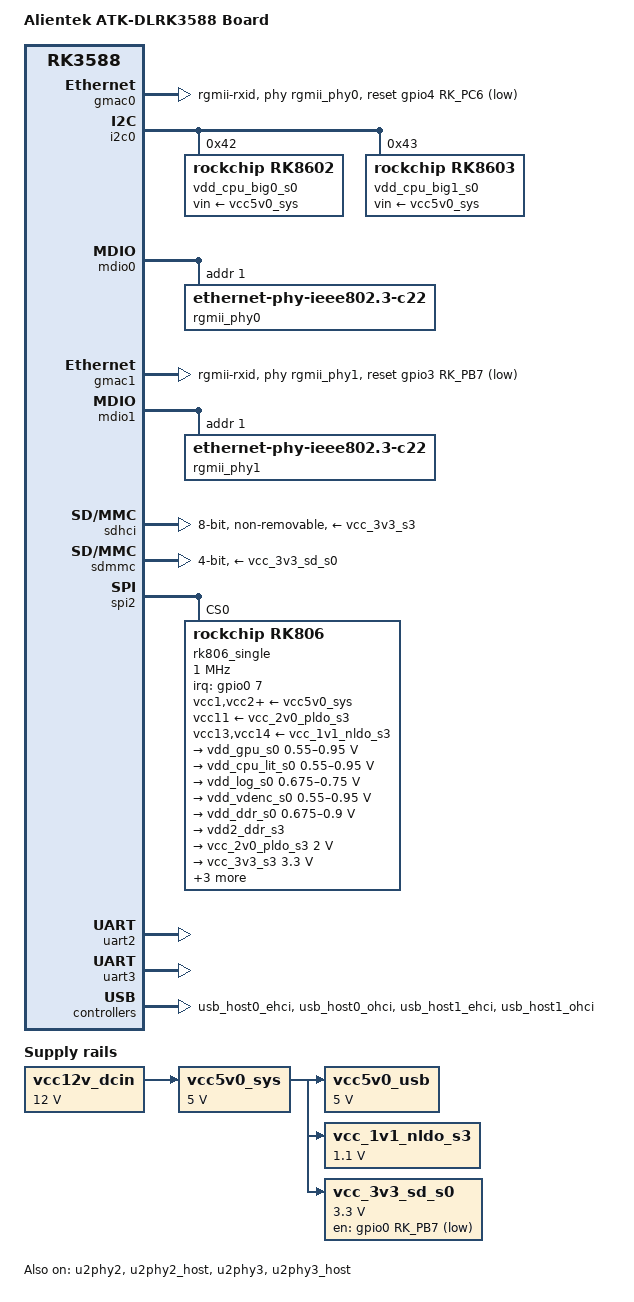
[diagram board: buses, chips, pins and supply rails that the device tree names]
// SPDX-License-Identifier: (GPL-2.0+ OR MIT)
/*
 * Copyright (c) 2025 Alientek Electronics Co., Ltd
 *
 * Basic Linux support for the Alientek ATK-DLRK3588 development board.
 * Board wiring comes from the vendor rk3588-atk-devkit.dts(i) and the
 * tested U-Boot board description, including active-low SD card power.
 */

/dts-v1/;

#include <dt-bindings/clock/rockchip,rk3588-cru.h>
#include <dt-bindings/gpio/gpio.h>
#include <dt-bindings/pinctrl/rockchip.h>
#include "rk3588.dtsi"

/ {
	model = "Alientek ATK-DLRK3588 Board";
	compatible = "alientek,atk-dlrk3588", "rockchip,rk3588";

	aliases {
		ethernet0 = &gmac0;
		ethernet1 = &gmac1;
		mmc0 = &sdhci;
		mmc1 = &sdmmc;
		spi2 = &spi2;
	};

	chosen {
		stdout-path = "serial2:1500000n8";
	};

	vcc12v_dcin: vcc12v-dcin {
		compatible = "regulator-fixed";
		regulator-name = "vcc12v_dcin";
		regulator-always-on;
		regulator-boot-on;
		regulator-min-microvolt = <12000000>;
		regulator-max-microvolt = <12000000>;
	};

	vcc5v0_sys: vcc5v0-sys {
		compatible = "regulator-fixed";
		regulator-name = "vcc5v0_sys";
		regulator-always-on;
		regulator-boot-on;
		regulator-min-microvolt = <5000000>;
		regulator-max-microvolt = <5000000>;
		vin-supply = <&vcc12v_dcin>;
	};

	vcc5v0_usb: vcc5v0-usb {
		compatible = "regulator-fixed";
		regulator-name = "vcc5v0_usb";
		regulator-always-on;
		regulator-boot-on;
		regulator-min-microvolt = <5000000>;
		regulator-max-microvolt = <5000000>;
		vin-supply = <&vcc5v0_sys>;
	};

	vcc_1v1_nldo_s3: vcc-1v1-nldo-s3 {
		compatible = "regulator-fixed";
		regulator-name = "vcc_1v1_nldo_s3";
		regulator-always-on;
		regulator-boot-on;
		regulator-min-microvolt = <1100000>;
		regulator-max-microvolt = <1100000>;
		vin-supply = <&vcc5v0_sys>;
	};

	vcc_3v3_sd_s0: vcc-3v3-sd-s0-regulator {
		compatible = "regulator-fixed";
		gpio = <&gpio0 RK_PB7 GPIO_ACTIVE_LOW>;
		pinctrl-names = "default";
		pinctrl-0 = <&sd_s0_pwr>;
		regulator-name = "vcc_3v3_sd_s0";
		regulator-min-microvolt = <3300000>;
		regulator-max-microvolt = <3300000>;
		regulator-boot-on;
		vin-supply = <&vcc5v0_sys>;
	};
};

&cpu_b0 {
	cpu-supply = <&vdd_cpu_big0_s0>;
};

&cpu_b1 {
	cpu-supply = <&vdd_cpu_big0_s0>;
};

&cpu_b2 {
	cpu-supply = <&vdd_cpu_big1_s0>;
};

&cpu_b3 {
	cpu-supply = <&vdd_cpu_big1_s0>;
};

&cpu_l0 {
	cpu-supply = <&vdd_cpu_lit_s0>;
};

&cpu_l1 {
	cpu-supply = <&vdd_cpu_lit_s0>;
};

&cpu_l2 {
	cpu-supply = <&vdd_cpu_lit_s0>;
};

&cpu_l3 {
	cpu-supply = <&vdd_cpu_lit_s0>;
};

&gmac0 {
	clock_in_out = "output";
	/* GMAC supplies the TX delay; the PHY supplies the RX delay. */
	phy-mode = "rgmii-rxid";
	phy-handle = <&rgmii_phy0>;

	snps,reset-gpio = <&gpio4 RK_PC6 GPIO_ACTIVE_LOW>;
	snps,reset-active-low;
	/* Assert reset for 20ms, then allow 100ms for the PHY to settle. */
	snps,reset-delays-us = <0 20000 100000>;

	pinctrl-names = "default";
	pinctrl-0 = <&gmac0_miim
		     &gmac0_tx_bus2
		     &gmac0_rx_bus2
		     &gmac0_rgmii_clk
		     &gmac0_rgmii_bus>;

	tx_delay = <0x43>;
	status = "okay";
};

&i2c0 {
	pinctrl-names = "default";
	pinctrl-0 = <&i2c0m2_xfer>;
	status = "okay";

	vdd_cpu_big0_s0: regulator@42 {
		compatible = "rockchip,rk8602";
		reg = <0x42>;
		vin-supply = <&vcc5v0_sys>;
		regulator-name = "vdd_cpu_big0_s0";
		regulator-min-microvolt = <550000>;
		regulator-max-microvolt = <1050000>;
		regulator-ramp-delay = <2300>;
		fcs,suspend-voltage-selector = <1>;
		regulator-boot-on;
		regulator-always-on;
	};

	vdd_cpu_big1_s0: regulator@43 {
		compatible = "rockchip,rk8603", "rockchip,rk8602";
		reg = <0x43>;
		vin-supply = <&vcc5v0_sys>;
		regulator-name = "vdd_cpu_big1_s0";
		regulator-min-microvolt = <550000>;
		regulator-max-microvolt = <1050000>;
		regulator-ramp-delay = <2300>;
		fcs,suspend-voltage-selector = <1>;
		regulator-boot-on;
		regulator-always-on;
	};
};

&mdio0 {
	rgmii_phy0: ethernet-phy@1 {
		compatible = "ethernet-phy-ieee802.3-c22";
		reg = <0x1>;
	};
};

&gmac1 {
	clock_in_out = "output";
	/* GMAC supplies the TX delay; the PHY supplies the RX delay. */
	phy-mode = "rgmii-rxid";
	phy-handle = <&rgmii_phy1>;

	snps,reset-gpio = <&gpio3 RK_PB7 GPIO_ACTIVE_LOW>;
	snps,reset-active-low;
	/* Assert reset for 20ms, then allow 100ms for the PHY to settle. */
	snps,reset-delays-us = <0 20000 100000>;

	pinctrl-names = "default";
	pinctrl-0 = <&gmac1_miim
		     &gmac1_tx_bus2
		     &gmac1_rx_bus2
		     &gmac1_rgmii_clk
		     &gmac1_rgmii_bus>;

	tx_delay = <0x43>;
	status = "okay";
};

&mdio1 {
	rgmii_phy1: ethernet-phy@1 {
		compatible = "ethernet-phy-ieee802.3-c22";
		reg = <0x1>;
	};
};

&pinctrl {
	sdmmc {
		sd_s0_pwr: sd-s0-pwr {
			rockchip,pins = <0 RK_PB7 RK_FUNC_GPIO &pcfg_pull_down>;
		};
	};
};

&sdhci {
	bus-width = <8>;
	no-sdio;
	no-sd;
	non-removable;
	max-frequency = <200000000>;
	mmc-hs400-1_8v;
	mmc-hs400-enhanced-strobe;
	vmmc-supply = <&vcc_3v3_s3>;
	vqmmc-supply = <&vcc_1v8_s3>;
	status = "okay";
};

&sdmmc {
	max-frequency = <150000000>;
	no-sdio;
	no-mmc;
	bus-width = <4>;
	cap-sd-highspeed;
	disable-wp;
	vmmc-supply = <&vcc_3v3_sd_s0>;
	vqmmc-supply = <&vccio_sd_s0>;
	status = "okay";
};

&spi2 {
	assigned-clocks = <&cru CLK_SPI2>;
	assigned-clock-rates = <200000000>;
	num-cs = <1>;
	pinctrl-names = "default";
	pinctrl-0 = <&spi2m2_cs0 &spi2m2_pins>;
	status = "okay";

	rk806_single: pmic@0 {
		compatible = "rockchip,rk806";
		reg = <0x0>;
		interrupt-parent = <&gpio0>;
		interrupts = <7 IRQ_TYPE_LEVEL_LOW>;
		pinctrl-names = "default";
		pinctrl-0 = <&pmic_pins>, <&rk806_dvs1_null>,
			    <&rk806_dvs2_null>, <&rk806_dvs3_null>;
		spi-max-frequency = <1000000>;
		system-power-controller;

		vcc1-supply = <&vcc5v0_sys>;
		vcc2-supply = <&vcc5v0_sys>;
		vcc3-supply = <&vcc5v0_sys>;
		vcc4-supply = <&vcc5v0_sys>;
		vcc5-supply = <&vcc5v0_sys>;
		vcc6-supply = <&vcc5v0_sys>;
		vcc7-supply = <&vcc5v0_sys>;
		vcc8-supply = <&vcc5v0_sys>;
		vcc9-supply = <&vcc5v0_sys>;
		vcc10-supply = <&vcc5v0_sys>;
		vcc11-supply = <&vcc_2v0_pldo_s3>;
		vcc12-supply = <&vcc5v0_sys>;
		vcc13-supply = <&vcc_1v1_nldo_s3>;
		vcc14-supply = <&vcc_1v1_nldo_s3>;
		vcca-supply = <&vcc5v0_sys>;

		gpio-controller;
		#gpio-cells = <2>;

		rk806_dvs1_null: dvs1-null-pins {
			pins = "gpio_pwrctrl1";
			function = "pin_fun0";
		};

		rk806_dvs2_null: dvs2-null-pins {
			pins = "gpio_pwrctrl2";
			function = "pin_fun0";
		};

		rk806_dvs3_null: dvs3-null-pins {
			pins = "gpio_pwrctrl3";
			function = "pin_fun0";
		};

		regulators {
			vdd_gpu_s0: dcdc-reg1 {
				regulator-name = "vdd_gpu_s0";
				regulator-boot-on;
				regulator-min-microvolt = <550000>;
				regulator-max-microvolt = <950000>;
				regulator-ramp-delay = <12500>;
				regulator-enable-ramp-delay = <400>;

				regulator-state-mem {
					regulator-off-in-suspend;
				};
			};

			vdd_cpu_lit_s0: dcdc-reg2 {
				regulator-name = "vdd_cpu_lit_s0";
				regulator-always-on;
				regulator-boot-on;
				regulator-min-microvolt = <550000>;
				regulator-max-microvolt = <950000>;
				regulator-ramp-delay = <12500>;

				regulator-state-mem {
					regulator-off-in-suspend;
				};
			};

			vdd_log_s0: dcdc-reg3 {
				regulator-name = "vdd_log_s0";
				regulator-always-on;
				regulator-boot-on;
				regulator-min-microvolt = <675000>;
				regulator-max-microvolt = <750000>;
				regulator-ramp-delay = <12500>;

				regulator-state-mem {
					regulator-off-in-suspend;
					regulator-suspend-microvolt = <750000>;
				};
			};

			vdd_vdenc_s0: dcdc-reg4 {
				regulator-name = "vdd_vdenc_s0";
				regulator-always-on;
				regulator-boot-on;
				regulator-min-microvolt = <550000>;
				regulator-max-microvolt = <950000>;
				regulator-ramp-delay = <12500>;

				regulator-state-mem {
					regulator-off-in-suspend;
				};
			};

			vdd_ddr_s0: dcdc-reg5 {
				regulator-name = "vdd_ddr_s0";
				regulator-always-on;
				regulator-boot-on;
				regulator-min-microvolt = <675000>;
				regulator-max-microvolt = <900000>;
				regulator-ramp-delay = <12500>;

				regulator-state-mem {
					regulator-off-in-suspend;
					regulator-suspend-microvolt = <850000>;
				};
			};

			vdd2_ddr_s3: dcdc-reg6 {
				regulator-name = "vdd2_ddr_s3";
				regulator-always-on;
				regulator-boot-on;

				regulator-state-mem {
					regulator-on-in-suspend;
				};
			};

			vcc_2v0_pldo_s3: dcdc-reg7 {
				regulator-name = "vdd_2v0_pldo_s3";
				regulator-always-on;
				regulator-boot-on;
				regulator-min-microvolt = <2000000>;
				regulator-max-microvolt = <2000000>;
				regulator-ramp-delay = <12500>;

				regulator-state-mem {
					regulator-on-in-suspend;
					regulator-suspend-microvolt = <2000000>;
				};
			};

			vcc_3v3_s3: dcdc-reg8 {
				regulator-name = "vcc_3v3_s3";
				regulator-always-on;
				regulator-boot-on;
				regulator-min-microvolt = <3300000>;
				regulator-max-microvolt = <3300000>;

				regulator-state-mem {
					regulator-on-in-suspend;
					regulator-suspend-microvolt = <3300000>;
				};
			};

			vddq_ddr_s0: dcdc-reg9 {
				regulator-name = "vddq_ddr_s0";
				regulator-always-on;
				regulator-boot-on;

				regulator-state-mem {
					regulator-off-in-suspend;
				};
			};

			vcc_1v8_s3: dcdc-reg10 {
				regulator-name = "vcc_1v8_s3";
				regulator-always-on;
				regulator-boot-on;
				regulator-min-microvolt = <1800000>;
				regulator-max-microvolt = <1800000>;

				regulator-state-mem {
					regulator-on-in-suspend;
					regulator-suspend-microvolt = <1800000>;
				};
			};

			avcc_1v8_s0: pldo-reg1 {
				regulator-name = "avcc_1v8_s0";
				regulator-always-on;
				regulator-boot-on;
				regulator-min-microvolt = <1800000>;
				regulator-max-microvolt = <1800000>;

				regulator-state-mem {
					regulator-off-in-suspend;
				};
			};

			vcc_1v8_s0: pldo-reg2 {
				regulator-name = "vcc_1v8_s0";
				regulator-always-on;
				regulator-boot-on;
				regulator-min-microvolt = <1800000>;
				regulator-max-microvolt = <1800000>;

				regulator-state-mem {
					regulator-off-in-suspend;
					regulator-suspend-microvolt = <1800000>;
				};
			};

			avdd_1v2_s0: pldo-reg3 {
				regulator-name = "avdd_1v2_s0";
				regulator-always-on;
				regulator-boot-on;
				regulator-min-microvolt = <1200000>;
				regulator-max-microvolt = <1200000>;

				regulator-state-mem {
					regulator-off-in-suspend;
				};
			};

			vcc_3v3_s0: pldo-reg4 {
				regulator-name = "vcc_3v3_s0";
				regulator-always-on;
				regulator-boot-on;
				regulator-min-microvolt = <3300000>;
				regulator-max-microvolt = <3300000>;
				regulator-ramp-delay = <12500>;

				regulator-state-mem {
					regulator-off-in-suspend;
				};
			};

			vccio_sd_s0: pldo-reg5 {
				regulator-name = "vccio_sd_s0";
				regulator-always-on;
				regulator-boot-on;
				regulator-min-microvolt = <1800000>;
				regulator-max-microvolt = <3300000>;
				regulator-ramp-delay = <12500>;

				regulator-state-mem {
					regulator-off-in-suspend;
				};
			};

			pldo6_s3: pldo-reg6 {
				regulator-name = "pldo6_s3";
				regulator-always-on;
				regulator-boot-on;
				regulator-min-microvolt = <1800000>;
				regulator-max-microvolt = <1800000>;

				regulator-state-mem {
					regulator-on-in-suspend;
					regulator-suspend-microvolt = <1800000>;
				};
			};

			vdd_0v75_s3: nldo-reg1 {
				regulator-name = "vdd_0v75_s3";
				regulator-always-on;
				regulator-boot-on;
				regulator-min-microvolt = <750000>;
				regulator-max-microvolt = <750000>;

				regulator-state-mem {
					regulator-on-in-suspend;
					regulator-suspend-microvolt = <750000>;
				};
			};

			vdd_ddr_pll_s0: nldo-reg2 {
				regulator-name = "vdd_ddr_pll_s0";
				regulator-always-on;
				regulator-boot-on;
				regulator-min-microvolt = <850000>;
				regulator-max-microvolt = <850000>;

				regulator-state-mem {
					regulator-off-in-suspend;
					regulator-suspend-microvolt = <850000>;
				};
			};

			avdd_0v75_s0: nldo-reg3 {
				regulator-name = "avdd_0v75_s0";
				regulator-always-on;
				regulator-boot-on;
				regulator-min-microvolt = <837500>;
				regulator-max-microvolt = <837500>;

				regulator-state-mem {
					regulator-off-in-suspend;
				};
			};

			vdd_0v85_s0: nldo-reg4 {
				regulator-name = "vdd_0v85_s0";
				regulator-always-on;
				regulator-boot-on;
				regulator-min-microvolt = <850000>;
				regulator-max-microvolt = <850000>;

				regulator-state-mem {
					regulator-off-in-suspend;
				};
			};

			vdd_0v75_s0: nldo-reg5 {
				regulator-name = "vdd_0v75_s0";
				regulator-always-on;
				regulator-boot-on;
				regulator-min-microvolt = <750000>;
				regulator-max-microvolt = <750000>;

				regulator-state-mem {
					regulator-off-in-suspend;
				};
			};
		};
	};
};

&uart2 {
	pinctrl-0 = <&uart2m0_xfer>;
	status = "okay";
};

&uart3 {
	pinctrl-names = "default";
	pinctrl-0 = <&uart3m2_xfer>;
	status = "okay";
};

&u2phy2 {
	status = "okay";
};

&u2phy2_host {
	phy-supply = <&vcc5v0_usb>;
	status = "okay";
};

&u2phy3 {
	status = "okay";
};

&u2phy3_host {
	phy-supply = <&vcc5v0_usb>;
	status = "okay";
};

&usb_host0_ehci {
	status = "okay";
};

&usb_host0_ohci {
	status = "okay";
};

&usb_host1_ehci {
	status = "okay";
};

&usb_host1_ohci {
	status = "okay";
};
